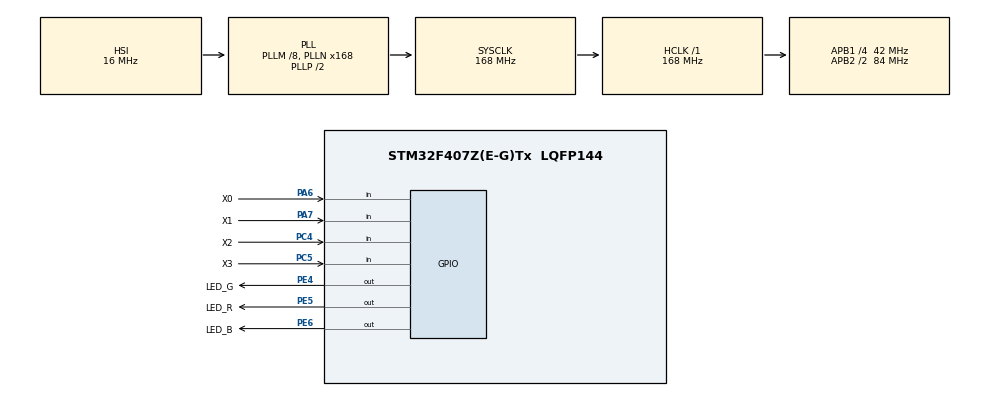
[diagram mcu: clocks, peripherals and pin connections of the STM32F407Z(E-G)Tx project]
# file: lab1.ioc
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Mcu.Family=STM32F4
Mcu.Name=STM32F407Z(E-G)Tx
Mcu.Package=LQFP144
NVIC.PriorityGroup=NVIC_PRIORITYGROUP_4
PA13.Mode=Serial_Wire
PA13.Signal=SYS_JTMS-SWDIO
PA14.Mode=Serial_Wire
PA14.Signal=SYS_JTCK-SWCLK
PA6.GPIO_Label=X0
PA6.Signal=GPIO_Input
PA7.GPIO_Label=X1
PA7.Signal=GPIO_Input
PC4.GPIO_Label=X2
PC4.Signal=GPIO_Input
PC5.GPIO_Label=X3
PC5.Signal=GPIO_Input
PE4.GPIO_Label=LED_G
PE4.Signal=GPIO_Output
PE5.GPIO_Label=LED_R
PE5.Signal=GPIO_Output
PE6.GPIO_Label=LED_B
PE6.Signal=GPIO_Output
PH0-OSC_IN.Mode=HSE-External-Oscillator
PH0-OSC_IN.Signal=RCC_OSC_IN
PH1-OSC_OUT.Mode=HSE-External-Oscillator
PH1-OSC_OUT.Signal=RCC_OSC_OUT
ProjectManager.HeapSize=0x200
ProjectManager.StackSize=0x400
ProjectManager.TargetToolchain=STM32CubeIDE
RCC.48MHZClocksFreq_Value=84000000
RCC.AHBFreq_Value=168000000
RCC.APB1CLKDivider=RCC_HCLK_DIV4
RCC.APB1Freq_Value=42000000
RCC.APB1TimFreq_Value=84000000
RCC.APB2CLKDivider=RCC_HCLK_DIV2
RCC.APB2Freq_Value=84000000
RCC.APB2TimFreq_Value=168000000
RCC.CortexFreq_Value=168000000
RCC.HCLKFreq_Value=168000000
RCC.HSE_VALUE=8000000
RCC.HSI_VALUE=16000000
RCC.LSE_VALUE=32768
RCC.PLLM=8
RCC.PLLN=168
RCC.SYSCLKFreq_VALUE=168000000
RCC.SYSCLKSource=RCC_SYSCLKSOURCE_PLLCLK
RCC.VCOOutputFreq_Value=336000000
board=custom

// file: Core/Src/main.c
/* USER CODE BEGIN Header */
/**
  ******************************************************************************
  * @file           : main.c
  * @brief          : Main program body
  ******************************************************************************
  * @attention
  *
  * Copyright (c) 2024 STMicroelectronics.
  * All rights reserved.
  *
  * This software is licensed under terms that can be found in the LICENSE file
  * in the root directory of this software component.
  * If no LICENSE file comes with this software, it is provided AS-IS.
  *
  ******************************************************************************
  */
/* USER CODE END Header */
#include "main.h"

void SystemClock_Config(void);
static void MX_GPIO_Init(void);

int main(void)
{

  /* MCU Configuration--------------------------------------------------------*/

  /* Reset of all peripherals, Initializes the Flash interface and the Systick. */
  HAL_Init();

  /* Configure the system clock */
  SystemClock_Config();

  /* Initialize all configured peripherals */
  MX_GPIO_Init();
  /* USER CODE BEGIN 2 */
  uint8_t count = 0;
  uint8_t flag = 1;
  //RED = 1 - GREEN = 2 - BLUE = 3
  /* USER CODE END 2 */

  /* Infinite loop */
  /* USER CODE BEGIN WHILE */
  while (1)
  {
	  switch (flag) {
		case 1:
			HAL_GPIO_WritePin(LED_R_GPIO_Port, LED_R_Pin, SET);
			HAL_GPIO_WritePin(LED_G_GPIO_Port, LED_G_Pin, RESET);
			HAL_GPIO_WritePin(LED_B_GPIO_Port, LED_B_Pin, RESET);
			break;
		case 2:
			HAL_GPIO_WritePin(LED_R_GPIO_Port, LED_R_Pin, RESET);
			HAL_GPIO_WritePin(LED_G_GPIO_Port, LED_G_Pin, SET);
			HAL_GPIO_WritePin(LED_B_GPIO_Port, LED_B_Pin, RESET);
			break;
		case 3:
			HAL_GPIO_WritePin(LED_R_GPIO_Port, LED_R_Pin, RESET);
			HAL_GPIO_WritePin(LED_G_GPIO_Port, LED_G_Pin, RESET);
			HAL_GPIO_WritePin(LED_B_GPIO_Port, LED_B_Pin, SET);
			break;
		default:
			break;
	  }

	  count++;

	  if(count == 5){
		  flag = 2;
	  }else if(count == 8){
		  flag = 3;
	  }else if(count == 9){
		  count = 0;
		  flag = 1;
	  }
	  HAL_Delay(1000);
    /* USER CODE END WHILE */

  }
}

void SystemClock_Config(void)
{
  RCC_OscInitTypeDef RCC_OscInitStruct = {0};
  RCC_ClkInitTypeDef RCC_ClkInitStruct = {0};

  /** Configure the main internal regulator output voltage
  */
  __HAL_RCC_PWR_CLK_ENABLE();
  __HAL_PWR_VOLTAGESCALING_CONFIG(PWR_REGULATOR_VOLTAGE_SCALE1);

  /** Initializes the RCC Oscillators according to the specified parameters
  * in the RCC_OscInitTypeDef structure.
  */
  RCC_OscInitStruct.OscillatorType = RCC_OSCILLATORTYPE_HSI;
  RCC_OscInitStruct.HSIState = RCC_HSI_ON;
  RCC_OscInitStruct.HSICalibrationValue = RCC_HSICALIBRATION_DEFAULT;
  RCC_OscInitStruct.PLL.PLLState = RCC_PLL_ON;
  RCC_OscInitStruct.PLL.PLLSource = RCC_PLLSOURCE_HSI;
  RCC_OscInitStruct.PLL.PLLM = 8;
  RCC_OscInitStruct.PLL.PLLN = 168;
  RCC_OscInitStruct.PLL.PLLP = RCC_PLLP_DIV2;
  RCC_OscInitStruct.PLL.PLLQ = 4;
  if (HAL_RCC_OscConfig(&RCC_OscInitStruct) != HAL_OK)
  {
    Error_Handler();
  }

  /** Initializes the CPU, AHB and APB buses clocks
  */
  RCC_ClkInitStruct.ClockType = RCC_CLOCKTYPE_HCLK|RCC_CLOCKTYPE_SYSCLK
                              |RCC_CLOCKTYPE_PCLK1|RCC_CLOCKTYPE_PCLK2;
  RCC_ClkInitStruct.SYSCLKSource = RCC_SYSCLKSOURCE_PLLCLK;
  RCC_ClkInitStruct.AHBCLKDivider = RCC_SYSCLK_DIV1;
  RCC_ClkInitStruct.APB1CLKDivider = RCC_HCLK_DIV4;
  RCC_ClkInitStruct.APB2CLKDivider = RCC_HCLK_DIV2;

  if (HAL_RCC_ClockConfig(&RCC_ClkInitStruct, FLASH_LATENCY_5) != HAL_OK)
  {
    Error_Handler();
  }
}

static void MX_GPIO_Init(void)
{
  GPIO_InitTypeDef GPIO_InitStruct = {0};

  /* GPIO Ports Clock Enable */
  __HAL_RCC_GPIOE_CLK_ENABLE();
  __HAL_RCC_GPIOH_CLK_ENABLE();
  __HAL_RCC_GPIOA_CLK_ENABLE();
  __HAL_RCC_GPIOC_CLK_ENABLE();

  /*Configure GPIO pin Output Level */
  HAL_GPIO_WritePin(GPIOE, LED_G_Pin|LED_R_Pin|LED_B_Pin, GPIO_PIN_RESET);

  /*Configure GPIO pins : LED_G_Pin LED_R_Pin LED_B_Pin */
  GPIO_InitStruct.Pin = LED_G_Pin|LED_R_Pin|LED_B_Pin;
  GPIO_InitStruct.Mode = GPIO_MODE_OUTPUT_PP;
  GPIO_InitStruct.Pull = GPIO_NOPULL;
  GPIO_InitStruct.Speed = GPIO_SPEED_FREQ_LOW;
  HAL_GPIO_Init(GPIOE, &GPIO_InitStruct);

  /*Configure GPIO pins : X0_Pin X1_Pin */
  GPIO_InitStruct.Pin = X0_Pin|X1_Pin;
  GPIO_InitStruct.Mode = GPIO_MODE_INPUT;
  GPIO_InitStruct.Pull = GPIO_NOPULL;
  HAL_GPIO_Init(GPIOA, &GPIO_InitStruct);

  /*Configure GPIO pins : X2_Pin X3_Pin */
  GPIO_InitStruct.Pin = X2_Pin|X3_Pin;
  GPIO_InitStruct.Mode = GPIO_MODE_INPUT;
  GPIO_InitStruct.Pull = GPIO_NOPULL;
  HAL_GPIO_Init(GPIOC, &GPIO_InitStruct);

}

void Error_Handler(void)
{
  __disable_irq();
  while (1)
  {
  }
}
